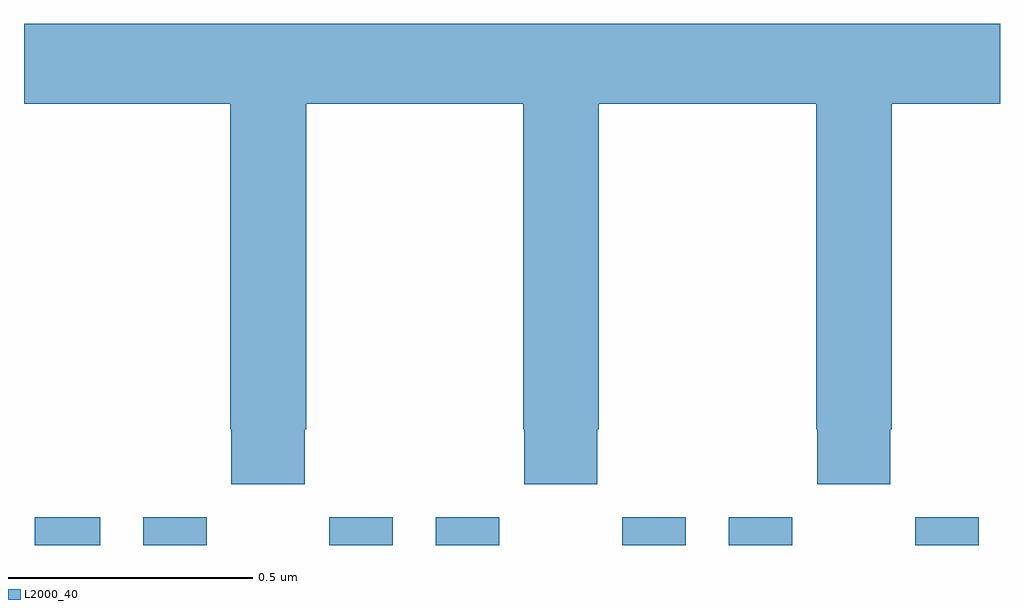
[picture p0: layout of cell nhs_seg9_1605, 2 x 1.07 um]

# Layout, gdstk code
import gdstk
lib = gdstk.Library(unit=1e-6, precision=1e-09)
def R(c, l, rs):  # rectangles x0, y0, x1, y1
    for r in rs: c.add(gdstk.rectangle(r[:2], r[2:], *l))
def P(c, l, *ps):  # polygons
    for p in ps: c.add(gdstk.Polygon(p, *l))
L2000_40 = (2000, 40)

nhs_seg9_1605 = lib.new_cell('nhs_seg9_1605')
R(nhs_seg9_1605, L2000_40, [(130.022,1211.5,130.156,1211.557), (130.244,1211.5,130.374,1211.557), (130.626,1211.5,130.756,1211.557), (130.844,1211.5,130.974,1211.557), (131.226,1211.5,131.356,1211.557), (131.444,1211.5,131.574,1211.557), (131.826,1211.5,131.956,1211.557)])
P(nhs_seg9_1605, L2000_40, [(130.575,1211.737),(130.578,1211.737),(130.578,1212.404),(131.023,1212.404),(131.023,1211.737),(131.025,1211.737),(131.025,1211.625),(131.175,1211.625),(131.175,1211.737),(131.178,1211.737),(131.178,1212.404),(131.623,1212.404),(131.623,1211.737),(131.625,1211.737),(131.625,1211.625),(131.775,1211.625),(131.775,1211.737),(131.778,1211.737),(131.778,1212.404),(132,1212.404),(132,1212.568),(130,1212.568),(130,1212.404),(130.423,1212.404),(130.423,1211.737),(130.425,1211.737),(130.425,1211.625),(130.575,1211.625)])

lib.write_gds('nhs_seg9_1605.gds')
